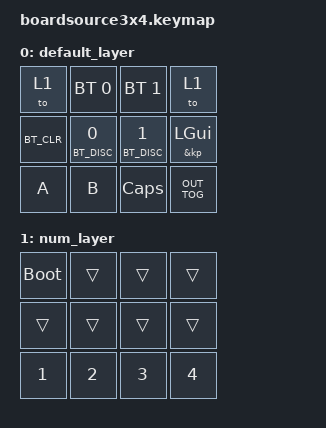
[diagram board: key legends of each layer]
/*
 * Copyright (c) 2020 The ZMK Contributors
 *
 * SPDX-License-Identifier: MIT
 */

#include <behaviors.dtsi>
#include <dt-bindings/zmk/keys.h>
#include <dt-bindings/zmk/bt.h>

/ {
    keymap {
        compatible = "zmk,keymap";

        default_layer {
            bindings = <
&to 1         &bt BT_SEL 0   &bt BT_SEL 1    &to 1
&BT_CLR       &BT_DISC 0     &BT_DISC 1      &&kp LGUI
&kp A         &kp B          &kp CAPSLOCK    &OUT_TOG
            >;
        };

        num_layer {
            bindings = <
&bootloader     &trans         &trans       &trans
&trans          &trans         &trans       &trans
&kp N1          &kp NUMBER_2   &kp N3       &kp N4
            >;
        };
    };
};
